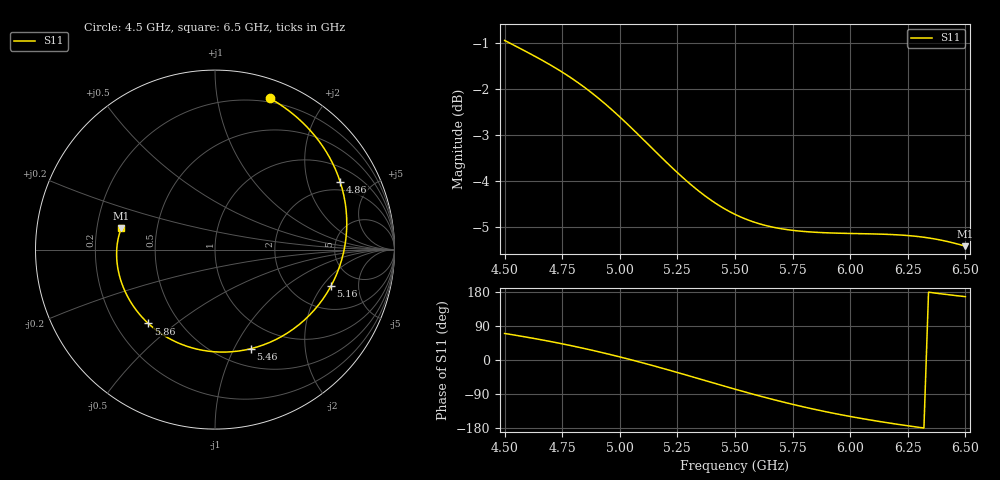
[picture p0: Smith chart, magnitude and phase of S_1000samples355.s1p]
! TOUCHSTONE file generated by CST MICROWAVE STUDIO
! Date and time: Thu Oct 27 21:22:09 2022
! Project name: L.cst
! Parameters = {Di=1.27; Epsilon_r=1.56; InnerDiameter=1.27; Length=2; Lf=10; Lg=60; OuterConductorThickness=0.2921; OuterDiameter=3.6; Wf=3; Wp=41.2; de=1.5; df=6.8; g=0.8; gx=2.65439; gy=1.48929; h=2.34; hf=1.524; px=11.6165; py=8.09657; w=9.7; wx=8.96207; wy=6.60728}
! Header version: 2018
! Port assignment regex: !\s*Touchstone port\s*([0-9]+)\s*=\s*(CST MWS port|CST DS port)\s*([0-9]+|Zmin|Zmax)\s*\(\"(.*)\"\)(\s*mode\s*([0-9]+))?.*
! Touchstone port assignment:
! Touchstone port 1 = CST MWS port 1 ("")
# GHz S DB R 50
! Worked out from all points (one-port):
!   101 points, 4.5 GHz to 6.5 GHz, reference 50 ohm
!   lowest |S11| = -5.4 dB at 6.5 GHz (marker M1), VSWR 3.31, Z = 15.3 + j5.09 ohm
!   |S11| at or under -10 dB: nowhere
!   S11 on the Smith chart (normalised r, x): 4.5 GHz: 0.16, +1.41; 4.86 GHz: 1.59, +3.23; 5.16 GHz: 3.23, -2.44; 5.46 GHz: 0.69, -1.17; 5.86 GHz: 0.34, -0.40; 6.5 GHz: 0.31, +0.10
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4.5  -0.94 70.1
4.58  -1.15 61.9
4.64  -1.31 55.5
4.7  -1.48 48.7
4.76  -1.66 41.4
4.86  -2.01 28.4
4.94  -2.34 17.1
5  -2.61 8.2
5.08  -2.99 -4.4
5.16  -3.39 -17.6
5.2  -3.58 -24.4
5.26  -3.87 -34.8
5.32  -4.13 -45.3
5.36  -4.29 -52.4
5.4  -4.43 -59.4
5.46  -4.62 -70.0
5.5  -4.73 -76.9
5.56  -4.86 -87.1
5.62  -4.95 -97.0
5.68  -5.02 -106.5
5.76  -5.08 -118.4
5.86  -5.12 -132.1
5.92  -5.13 -139.6
6  -5.15 -149.0
6.12  -5.16 -161.5
6.26  -5.20 -174.4
6.38  -5.28 175.8
6.5  -5.42 167.2
